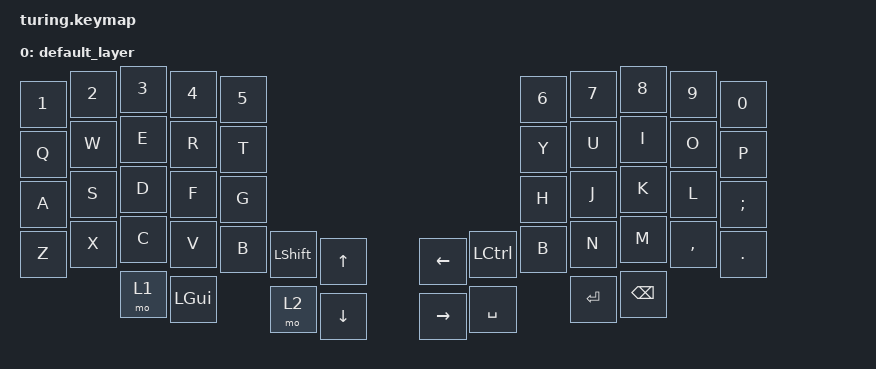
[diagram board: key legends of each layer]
/*
 * Copyright (c) 2020 The ZMK Contributors
 *
 * SPDX-License-Identifier: MIT
 */

#include <behaviors.dtsi>
#include <dt-bindings/zmk/keys.h>
#include <dt-bindings/zmk/bt.h>

/ {
	keymap {
		compatible = "zmk,keymap";

		default_layer {
			// | N1  | N2  |  N3   |  N4   |   N5  |                              |   N6  |  N7   |  N8   |  N9  |  N0   |
			// |  Q  |  W  |  E    |  R    |   T   |                              |   Y   |  U    |  I    |  O   |   P   |
			// |  A  |  S  |  D    |  F    |   G   |                              |   H   |  J    |  K    |  L   |   ;   |
			// |  Z  |  X  |  C    |  V    |   B   | SHFT | UP  |  | LEFT | CTRL |   B   |  N    |  M    |  ,   |   .   |
			//             | RAISE | GUI   |       | LOWR | DOWN|  | RGHT | SPC  |       | ENTER | ALT   |
			bindings = <
				&kp N1  &kp N2  &kp N3  &kp N4  &kp N5                                                    &kp N6  &kp N7  &kp N8     &kp N9    &kp N0
				&kp Q   &kp W   &kp E   &kp R   &kp T                                                     &kp Y   &kp U   &kp I      &kp O     &kp P
				&kp A   &kp S   &kp D   &kp F   &kp G                                                     &kp H   &kp J   &kp K      &kp L     &kp SEMI
				&kp Z   &kp X   &kp C   &kp V   &kp B   &kp LSHFT  &kp UP       &kp LEFT   &kp LCTRL     &kp B   &kp N   &kp M      &kp COMMA &kp DOT
								&mo 1   &kp LGUI         &mo 2      &kp DOWN     &kp RIGHT  &kp SPACE              &kp RET &kp BSPC
			>;
		};


		// commenting until default layer makes sense		
		// lower_layer {
		// 	// Symbol / Navigation layer (hold LOWER)
		// 	// --------------------------------------------------------------------------------------------
		// 	// |  F1 |  F2 |  F3   |  F4   |  F5   |                                     |   F6    |  F7   |  F8   |  F9  |  F10  |
		// 	// |  !  |  @  |  #    |  $    |  %    |                                     |    ^    |  &    |  *    |  (   |   )   |
		// 	// |  `  |  ~  |  -    |  =    |  [    |                                     |    ]    |  '    |  "    |  :   |   /   |
		// 	// | ESC | TAB |  _    |  +    |  {    | SHIFT |  UP  |------| LEFT  | CTRL  |    }    |  \    |  |    |  <   |   >   |
		// 	//             | RAISE |  GUI  |       | LOWER | DOWN |------| RIGHT | SPACE |         | ENTER |  ALT  |
		// 	bindings = <
		// 	&kp F1     &kp F2     &kp F3     &kp F4     &kp F5     &trans     &trans     &trans   &trans                         &kp F6     &kp F7     &kp F8     &kp F9     &kp F10
		// 	&kp EXCL   &kp AT     &kp HASH   &kp DLLR   &kp PRCNT  &trans     &trans     &trans   &trans                         &kp CARET  &kp AMPS   &kp STAR   &kp LPAR   &kp RPAR
		// 	&kp GRAVE  &kp TILDE  &kp MINUS  &kp EQUAL  &kp LBKT   &trans     &trans     &trans   &trans                         &kp RBKT   &kp SQT    &kp DQT    &kp COLON  &kp FSLH
		// 	&kp ESC    &kp TAB    &kp UNDER  &kp PLUS   &kp LBRC   &kp LSHFT  &kp UP     &trans   &trans   &kp LEFT   &kp LCTRL  &kp RBRC   &kp BSLH   &kp PIPE   &kp LT     &kp GT
		// 	&trans     &trans     &mo 1      &kp LGUI   &trans     &mo 2      &kp DOWN   &trans   &trans   &kp RIGHT  &kp SPACE  &trans     &trans     &trans     &trans     &trans
		// 	>;
		// };

		// raise_layer {
		// 	// Function / Media / Bluetooth layer (hold RAISE)
		// 	// --------------------------------------------------------------------------------------------
		// 	// | F11 | F12 | PRSC  | SLCK  | PAUSE |                                     |  BT_CLR | BT_0  | BT_1  | BT_2 |  BT_3 |
		// 	// | INS | HOME| PGUP  |       |       |                                     |         | VOLU  | BRIU  |      |       |
		// 	// | DEL | END | PGDN  |       |       |                                     |  LEFT   | DOWN  |  UP   | RGHT |       |
		// 	// |     |     |       |       |       | SHIFT |  UP  |------| LEFT  | CTRL  |         | VOLD  | BRID  | MUTE | PLAY  |
		// 	//             | RAISE |  GUI  |       | LOWER | DOWN |------| RIGHT | SPACE |         | ENTER |  ALT  |
		// 	bindings = <
		// 	&kp F11    &kp F12    &kp PSCRN  &kp SLCK   &kp PAUSE_BREAK &trans     &trans    &trans   &trans                         &bt BT_CLR &bt BT_SEL 0 &bt BT_SEL 1 &bt BT_SEL 2 &bt BT_SEL 3
		// 	&kp INS    &kp HOME   &kp PG_UP  &trans     &trans          &trans     &trans    &trans   &trans                         &trans     &kp C_VOL_UP &kp C_BRI_UP &trans       &trans
		// 	&kp DEL    &kp END    &kp PG_DN  &trans     &trans          &trans     &trans    &trans   &trans                         &kp LEFT   &kp DOWN     &kp UP       &kp RIGHT    &trans
		// 	&trans     &trans     &trans     &trans     &trans          &kp LSHFT  &kp UP    &trans   &trans   &kp LEFT   &kp LCTRL  &trans     &kp C_VOL_DN &kp C_BRI_DN &kp C_MUTE   &kp C_PP
		// 	&trans     &trans     &mo 1      &kp LGUI   &trans          &mo 2      &kp DOWN  &trans   &trans   &kp RIGHT  &kp SPACE  &trans     &trans       &trans       &trans       &trans
		// 	>;
		// };
	};
};
